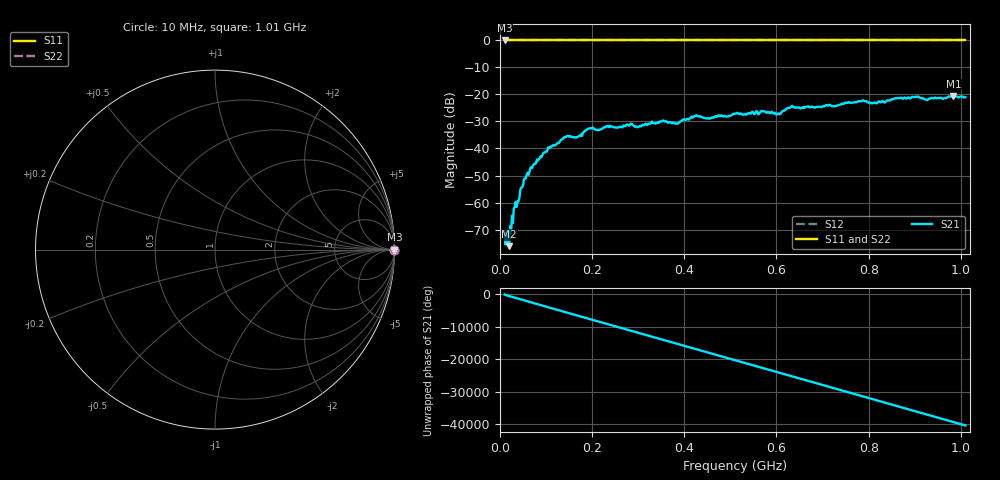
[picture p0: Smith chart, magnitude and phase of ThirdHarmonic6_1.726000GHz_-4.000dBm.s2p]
! 8/16/2025 8:46:51 PM
! C:\ANRITSUVNA\TEMP\TEMP.S2P
! CHANNEL.1
! TR.MEASUREMENT
! RAW.DATA
! RF.CORRECTION.OFF
! AVERAGING.OFF
! IF.BANDWIDTH: 5KHZ
! SWEEPTYPE:  FREQ.SWEEP(Linear)
! Reference Plane Port Info
! PORT:  PORT1  PORT2
! DISTANCE:  0  m  0  m
! TIME:  0  s  0  s
! PHASE.OFFSET:  0  deg.  0  deg.
! LOSS:  0  dB  0  dB
! REF.LOSS:  0  dB  0  dB
! REF.FREQ:  0  Hz  0  Hz
! Power Info
! POWER:  -20  dBm  -20  dBm
! EFF.POWER:  -20  dBm  -20  dBm
! SOURCE.ATTEN:  0  dB  0  dB
! TEST.ATTEN:  0  dB  0  dB
# GHZ S RI R 50.0
! FREQ.GHZ  S11RE  S11IM  S21RE  S21IM  S12RE  S12IM  S22RE  S22IM
!; PortSelection: Port_12
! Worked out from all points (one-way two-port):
!   501 points, 10 MHz to 1.01 GHz, reference 50 ohm
!   highest |S21| = -20.53 dB at 984 MHz (marker M1); lowest = -76.2 dB at 20 MHz (marker M2)
!   lowest |S11| = 0.0 dB at 10 MHz (marker M3)
!   |S11| at or under -10 dB: nowhere
!   |S22| runs from 0.0 to 0.0 dB; largest |S21 - S12| = 1.1
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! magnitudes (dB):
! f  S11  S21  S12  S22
! 10 MHz  0.0  -70.4  0.0  0.0
! 16 MHz  0.0  -70.4  0.0  0.0
! 20 MHz  0.0  -76.2  0.0  0.0
! 30 MHz  0.0  -62.1  0.0  0.0
! 34 MHz  0.0  -59.8  0.0  0.0
! 56 MHz  0.0  -51.1  0.0  0.0
! 70 MHz  0.0  -47.1  0.0  0.0
! 108 MHz  0.0  -39.4  0.0  0.0
! 136 MHz  0.0  -36.5  0.0  0.0
! 178 MHz  0.0  -35.4  0.0  0.0
! 198 MHz  0.0  -32.6  0.0  0.0
! 344 MHz  0.0  -30.6  0.0  0.0
! 384 MHz  0.0  -30.8  0.0  0.0
! 424 MHz  0.0  -27.9  0.0  0.0
! 452 MHz  0.0  -28.8  0.0  0.0
! 510 MHz  0.0  -27.2  0.0  0.0
! 604 MHz  0.0  -27.1  0.0  0.0
! 632 MHz  0.0  -24.5  0.0  0.0
! 678 MHz  0.0  -24.6  0.0  0.0
! 844 MHz  0.0  -22.2  0.0  0.0
! 984 MHz  0.0  -20.5  0.0  0.0
! 1.01 GHz  0.0  -21.0  0.0  0.0
